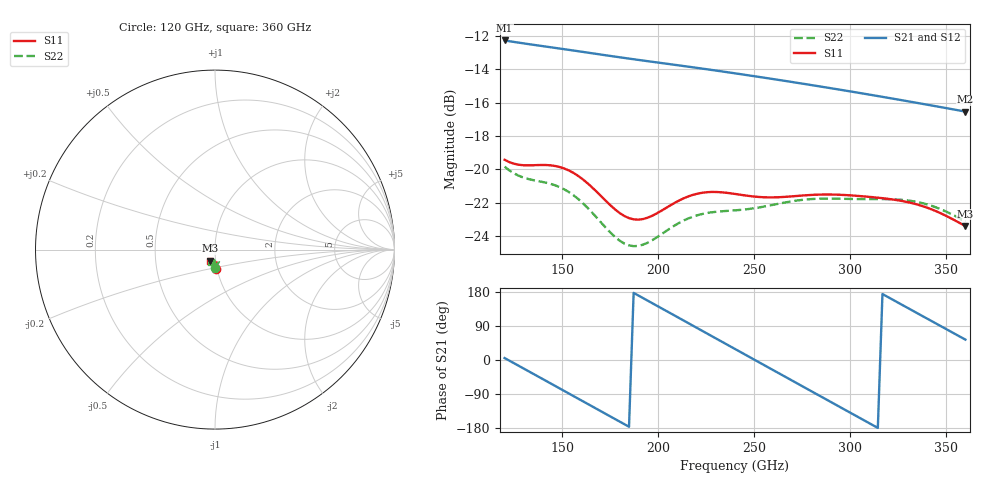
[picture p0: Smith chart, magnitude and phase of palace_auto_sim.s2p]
#  GHZ S DB R 50
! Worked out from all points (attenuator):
!   101 points, 120 GHz to 360 GHz, reference 50 ohm
!   highest |S21| = -12.27 dB at 120 GHz (marker M1); lowest = -16.5 dB at 360 GHz (marker M2)
!   lowest |S11| = -23.4 dB at 360 GHz (marker M3), VSWR 1.15, Z = 47.1 - j5.89 ohm
!   |S11| at or under -10 dB: start of sweep to end of sweep
!   |S22| runs from -24.6 to -19.8 dB; largest |S21 - S12| = 4.3e-15
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120  -19.42 -86.2  -12.27 5.1  -12.27 5.1  -19.83 -89.3
129.6  -19.74 -83.9  -12.44 -21.6  -12.44 -21.6  -20.48 -86.8
141.6  -19.73 -84.9  -12.63 -55.2  -12.63 -55.2  -20.79 -86.6
151.2  -19.95 -88.6  -12.79 -82.1  -12.79 -82.1  -21.20 -89.1
160.8  -20.60 -92.5  -12.95 -109.0  -12.95 -109.0  -22.02 -91.8
172.8  -21.89 -93.7  -13.16 -142.6  -13.16 -142.6  -23.50 -90.9
182.4  -22.79 -89.8  -13.31 -169.5  -13.31 -169.5  -24.44 -84.8
192  -22.97 -83.7  -13.47 163.7  -13.47 163.7  -24.51 -76.9
201.6  -22.48 -79.9  -13.62 136.8  -13.62 136.8  -23.88 -72.2
211.2  -21.84 -80.1  -13.77 109.9  -13.77 109.9  -23.18 -71.6
220.8  -21.44 -82.8  -13.92 83.0  -13.92 83.0  -22.73 -73.3
240  -21.47 -88.7  -14.24 29.1  -14.24 29.1  -22.45 -76.9
249.6  -21.62 -90.2  -14.40 2.2  -14.40 2.2  -22.33 -78.0
259.2  -21.67 -91.0  -14.57 -24.8  -14.57 -24.8  -22.13 -79.3
271.2  -21.60 -92.4  -14.78 -58.4  -14.78 -58.4  -21.88 -82.0
280.8  -21.52 -94.3  -14.96 -85.3  -14.96 -85.3  -21.77 -84.7
290.4  -21.50 -96.6  -15.14 -112.1  -15.14 -112.1  -21.74 -87.5
302.4  -21.57 -99.6  -15.37 -145.7  -15.37 -145.7  -21.77 -90.5
312  -21.66 -102.0  -15.55 -172.5  -15.55 -172.5  -21.78 -93.0
321.6  -21.79 -104.5  -15.74 160.7  -15.74 160.7  -21.79 -95.8
340.8  -22.32 -110.0  -16.13 107.2  -16.13 107.2  -22.12 -102.7
360  -23.39 -113.1  -16.53 53.8  -16.53 53.8  -23.11 -107.7
